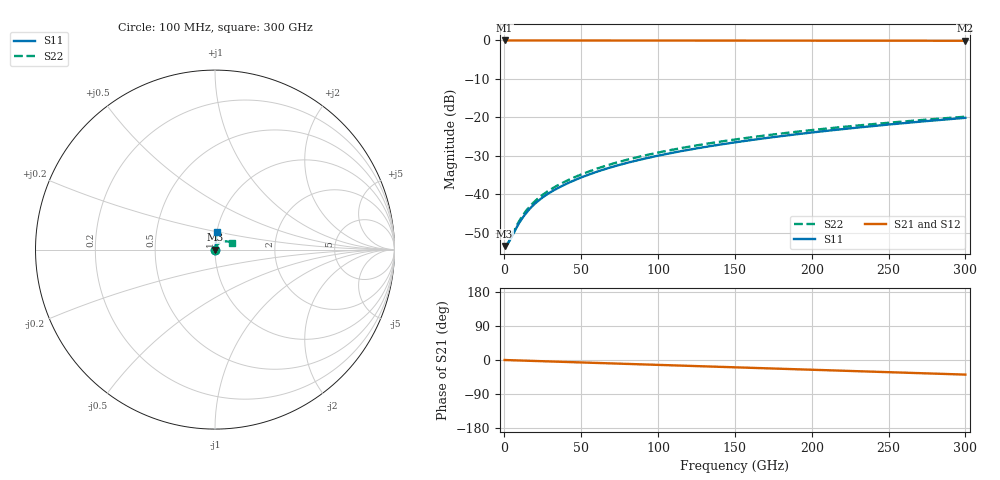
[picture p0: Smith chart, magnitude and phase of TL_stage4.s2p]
#  Hz  S  RI  R  50
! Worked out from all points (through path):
!   3000 points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, 100 MHz to 300 GHz, reference 50 ohm
!   highest |S21| = -0.02 dB at 100 MHz (marker M1); lowest = -0.1 dB at 300 GHz (marker M2)
!   group delay of S21, straight-line fit = 356 fs
!   lowest |S11| = -53.5 dB at 100 MHz (marker M3), VSWR 1.00, Z = 50.2 + j0.00374 ohm
!   |S11| at or under -10 dB: start of sweep to end of sweep
!   |S22| runs from -53.6 to -19.9 dB; largest |S21 - S12| = 0.001
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1e8  0.00211 3.73e-05  0.9979 -0.000231  0.9979 -0.000231  0.0021 3.96e-05
1.5e9  0.00212 0.000559  0.9979 -0.00347  0.9979 -0.00347  0.00211 0.000594
2.9e9  0.00213 0.00108  0.9979 -0.00671  0.9978 -0.0067  0.00213 0.00115
8.2e9  0.00226 0.00302  0.9976 -0.0189  0.9975 -0.0189  0.00234 0.0032
1e10  0.00233 0.00366  0.9974 -0.023  0.9974 -0.023  0.00246 0.00388
1.19e10  0.00241 0.00433  0.9972 -0.0274  0.9972 -0.0274  0.00259 0.00459
1.57e10  0.00258 0.00562  0.9967 -0.036  0.9967 -0.036  0.00291 0.00595
1.99e10  0.00279 0.00699  0.9961 -0.0454  0.9961 -0.0454  0.00331 0.00739
2.56e10  0.00304 0.00876  0.9952 -0.0581  0.9952 -0.0582  0.0039 0.00924
3.23e10  0.00328 0.0108  0.994 -0.073  0.9941 -0.073  0.00462 0.0113
4.05e10  0.00347 0.0132  0.9924 -0.0912  0.9924 -0.0912  0.00554 0.0138
5.01e10  0.00363 0.0161  0.9901 -0.1125  0.9901 -0.1125  0.00677 0.0167
6.07e10  0.00382 0.0193  0.9869 -0.1359  0.9869 -0.136  0.00839 0.0199
7.23e10  0.00406 0.0229  0.9827 -0.1615  0.9828 -0.1615  0.0105 0.0232
8.53e10  0.00432 0.0268  0.9773 -0.1899  0.9774 -0.1899  0.0132 0.0267
1.001e11  0.00458 0.0313  0.9702 -0.2221  0.9703 -0.2222  0.0166 0.0305
1.234e11  0.00503 0.0385  0.9568 -0.2722  0.9569 -0.2723  0.023 0.0357
1.501e11  0.00559 0.0468  0.9383 -0.3286  0.9385 -0.3288  0.0315 0.0406
1.739e11  0.00619 0.0544  0.9189 -0.3778  0.9191 -0.3781  0.0401 0.0437
2.001e11  0.00699 0.0629  0.8945 -0.4307  0.8947 -0.4311  0.0504 0.0457
2.501e11  0.00912 0.0798  0.8394 -0.5271  0.8395 -0.5279  0.072 0.0449
3e11  0.0124 0.0975  0.7738 -0.6164  0.7737 -0.6173  0.0945 0.0373
